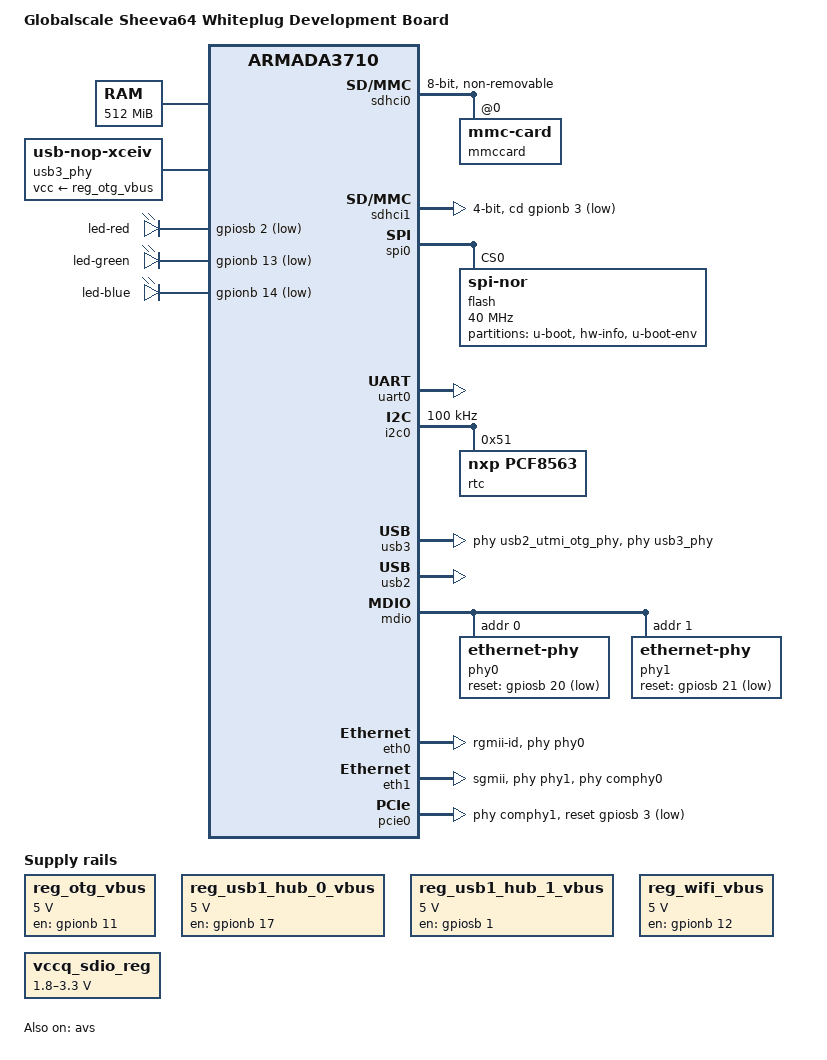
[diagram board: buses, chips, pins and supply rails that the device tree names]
// SPDX-License-Identifier: (GPL-2.0+ OR MIT)
/*
 * Device Tree file for Globalscale Sheeva64 Whiteplug r2 board
 * Copyright (C) 2019 Globalscale technologies, Inc.
 *
 * Jason Hung <jhung@globalscaletechnologies.com>
 */

/dts-v1/;

#include <dt-bindings/gpio/gpio.h>
#include "armada-372x.dtsi"

/ {
	model = "Globalscale Sheeva64 Whiteplug Development Board";
	compatible = "gti,armada-3720-sheeva64-whiteplug-r2",
				 "gti,armada-3720-sheeva64-whiteplug",
				 "globalscale,sheeva64",
				 "marvell,armada3720",
				 "marvell,armada3710";

	aliases {
		ethernet0 = &eth0;
		ethernet1 = &eth1;
	};

	chosen {
		stdout-path = "serial0:115200n8";
	};

	memory@0 {
		device_type = "memory";
		reg = <0x00000000 0x00000000 0x00000000 0x20000000>;
	};

	/* usb otg */
	reg_otg_vbus: reg-otg-vbus {
		compatible = "regulator-fixed";
		regulator-name = "usb-otg-vbus";
		regulator-min-microvolt = <5000000>;
		regulator-max-microvolt = <5000000>;
		enable-active-high;
		gpio = <&gpionb 11 GPIO_ACTIVE_HIGH>;
	};

	reg_usb1_hub_0_vbus: usb1-0-vbus {
		compatible = "regulator-fixed";
		regulator-name = "usb1-hub.0-vbus";
		regulator-min-microvolt = <5000000>;
		regulator-max-microvolt = <5000000>;
		gpio = <&gpionb 17 GPIO_ACTIVE_HIGH>;
		enable-active-high;
		regulator-boot-on;
		regulator-always-on;
	};

	reg_usb1_hub_1_vbus: usb1-1-vbus {
		compatible = "regulator-fixed";
		regulator-name = "usb1-hub.1-vbus";
		regulator-min-microvolt = <5000000>;
		regulator-max-microvolt = <5000000>;
		gpio = <&gpiosb 1 GPIO_ACTIVE_HIGH>;
		enable-active-high;
		regulator-boot-on;
		regulator-always-on;
	};

	reg_wifi_vbus: wifi-vbus {
		compatible = "regulator-fixed";
		regulator-name = "wifi-vbus";
		regulator-min-microvolt = <5000000>;
		regulator-max-microvolt = <5000000>;
		gpio = <&gpionb 12 GPIO_ACTIVE_HIGH>;
		enable-active-high;
		regulator-boot-on;
		regulator-always-on;
	};

	vccq_sdio_reg: regulator@0 {
		compatible = "regulator-gpio";
		regulator-name = "vcc-sd-reg";
		regulator-min-microvolt = <1800000>;
		regulator-max-microvolt = <3300000>;
		regulator-boot-on;

		gpios = <&gpionb 4 GPIO_ACTIVE_HIGH>;
		gpios-states = <0>;
		states = <1800000 0x1 3300000 0x0>;

		enable-active-high;
	};

	usb3_phy: usb3-phy {
		compatible = "usb-nop-xceiv";
		vcc-supply = <&reg_otg_vbus>;
	};

	gpio-leds {
		compatible = "gpio-leds";
		red {
			label = "led-red";
			gpios = <&gpiosb 2 GPIO_ACTIVE_LOW>;
			linux,default-trigger = "timer";
			blink_delay_off = <400>;
			blink_delay_on = <400>;
		};
		green {
			label = "led-green";
			gpios = <&gpionb 13 GPIO_ACTIVE_LOW>;
			default-state = "off";
		};
		blue {
			label = "led-blue";
			gpios = <&gpionb 14 GPIO_ACTIVE_LOW>;
			default-state = "off";
		};
	};
};

&avs {
	status = "okay";
};

&sdhci0 {
	non-removable;
	bus-width = <8>;
	mmc-ddr-1_8v;
	mmc-hs400-1_8v;
	marvell,xenon-emmc;
	marvell,xenon-tun-count = <9>;
	marvell,pad-type = "fixed-1-8v";

	pinctrl-names = "default";
	pinctrl-0 = <&mmc_pins>;
	status = "okay";

	#address-cells = <1>;
	#size-cells = <0>;
	mmccard: mmccard@0 {
		compatible = "mmc-card";
		reg = <0>;
	};
};

&sdhci1 {
	pinctrl-names = "default";
	pinctrl-0 = <&sdio_pins>;
	wp-inverted;
	bus-width = <4>;
	cd-gpios = <&gpionb 3 GPIO_ACTIVE_LOW>;
	marvell,pad-type = "sd";
	vqmmc-supply = <&vccq_sdio_reg>;
	status = "okay";
};

&spi0 {
	status = "okay";
	pinctrl-names = "default";
	pinctrl-0 = <&spi_quad_pins>;

	flash@0 {
		compatible = "jedec,spi-nor";
		reg = <0>;
		spi-max-frequency = <40000000>;
		m25p,fast-read;

		partitions {
			compatible = "fixed-partitions";
			#address-cells = <1>;
			#size-cells = <1>;

			partition@0 {
				label = "u-boot";
				reg = <0x0 0x3e0000>;
			};
			partition@3e0000 {
				label = "hw-info";
				reg = <0x3e0000 0x10000>;
				read-only;
			};
			partition@3f0000 {
				label = "u-boot-env";
				reg = <0x3f0000 0x10000>;
			};
		};
	};
};

&uart0 {
	pinctrl-names = "default";
	pinctrl-0 = <&uart1_pins>;
	status = "okay";
};

&i2c0 {
	pinctrl-names = "default";
	pinctrl-0 = <&i2c1_pins>;
	status = "okay";

	clock-frequency = <100000>;

	rtc@51 {
		compatible = "nxp,pcf8563";
		reg = <0x51>;
	};
};

&usb3 {
	phys = <&usb2_utmi_otg_phy>;
	phy-names = "usb2-utmi-otg-phy";
	usb-phy = <&usb3_phy>;
	status = "okay";
};

&usb2 {
	status = "okay";
};

&mdio {
	status = "okay";

	phy0: ethernet-phy@0 {
		reset-gpios = <&gpiosb 20 GPIO_ACTIVE_LOW>;
		reg = <0>;
	};
	phy1: ethernet-phy@1 {
		reset-gpios = <&gpiosb 21 GPIO_ACTIVE_LOW>;
		reg = <1>;
	};
};

&eth0 {
	pinctrl-names = "default";
	pinctrl-0 = <&rgmii_pins>, <&smi_pins>;
	phy-mode = "rgmii-id";
	phy = <&phy0>;
	status = "okay";
};

&eth1 {
	phy-mode = "sgmii";
	phys = <&comphy0 1>;
	phy = <&phy1>;
	status = "okay";
};

&pcie0 {
	status = "okay";
	phys = <&comphy1 0>;
	pinctrl-names = "default";
	pinctrl-0 = <&pcie_reset_pins &pcie_clkreq_pins>;
	reset-gpios = <&gpiosb 3 GPIO_ACTIVE_LOW>;
};
